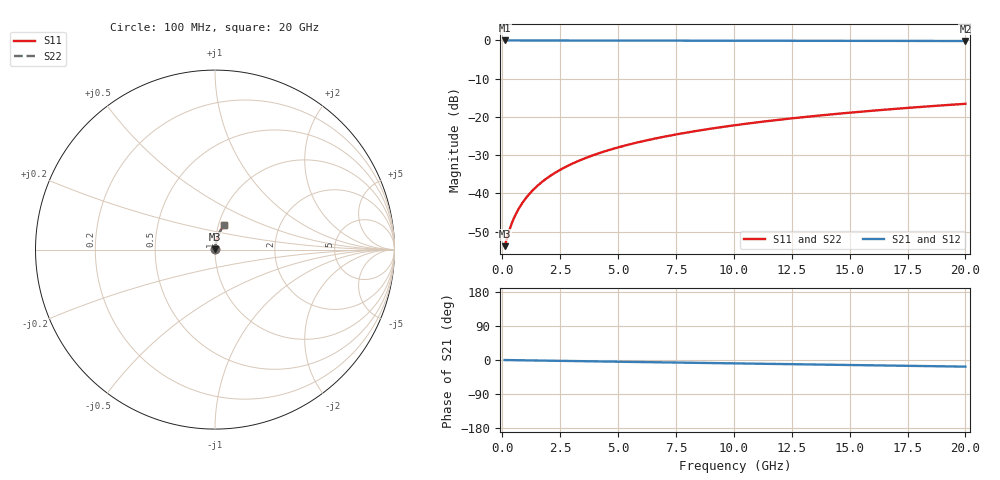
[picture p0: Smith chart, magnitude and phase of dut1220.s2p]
! Touchstone file exported from HFSS 2026.1.0
!  File:  C:/ffzhzh/LocalFiles/Ansys_Project_Files/temp_train_BSMRDL_1220_1783176814_55132.aedt
!  Generated:  10:54:42 PM Jul  4, 2026
!  Design:  BSMRDL
!  Project:  temp_train_BSMRDL_1220_1783176814_55132
! Variables:
!  h_bsmrdl = 3.97um
!  h_ox = 20um
!  h_rdl = 5um
!  h_sub = 80um
!  h_tmrdl = 5um
!  h_tsv = 80um
!  h_via = 3um
!  l_bsmrdl = 259.76um
!  l_sub = 659.76um
!  l_tmrdl = 200um
!  m_sub = 200um
!  pitch = 27.46um
!  r_tsv = 6um
!  s_tmrdl = 10um
!  w_bsmrdl = 13.76um
!  w_sub = 500um
!  w_tmrdl = 12um
!  x_tsv_center1 = 206um
!  x_tsv_center2 = 479.52um
!  x_tsv_center3 = 691.52um
!  x_tsv_center4 = 965.04um
!  x_tsv_center5 = 1177.04um
!  x_tsv_center6 = 1450.56um
# GHz S MA R 50.000000
! Terminal data exported
! Port[1] = BSM_RDL1_1_T1
! Port[2] = BSM_RDL1_1_T2
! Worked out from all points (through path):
!   200 points, 100 MHz to 20 GHz, reference 50 ohm
!   highest |S21| = -0.02 dB at 100 MHz (marker M1); lowest = -0.2 dB at 20 GHz (marker M2)
!   group delay of S21, straight-line fit = 2.43 ps
!   lowest |S11| = -53.8 dB at 100 MHz (marker M3), VSWR 1.00, Z = 50.2 + j0.0905 ohm
!   |S11| at or under -10 dB: start of sweep to end of sweep
!   |S22| runs from -53.8 to -16.6 dB; largest |S21 - S12| = 3.5e-15
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0.1  0.002039 26.3  0.9982 -0.1  0.9982 -0.1  0.002039 26.3
! Gamma 0 0 0 0
! Port Impedance 50 0 50 0
0.3  0.003273 53.1  0.998 -0.3  0.998 -0.3  0.003273 53.1
0.4  0.003991 59.3  0.998 -0.4  0.998 -0.4  0.003991 59.3
0.5  0.004725 63.6  0.9979 -0.5  0.9979 -0.5  0.004725 63.6
0.6  0.005469 66.7  0.9979 -0.6  0.9979 -0.6  0.005469 66.7
0.7  0.006221 69.2  0.9978 -0.6  0.9978 -0.6  0.006221 69.2
0.9  0.007746 72.7  0.9978 -0.8  0.9978 -0.8  0.007746 72.7
1.2  0.01007 75.9  0.9977 -1.1  0.9977 -1.1  0.01007 75.9
1.4  0.01164 77.3  0.9976 -1.3  0.9976 -1.3  0.01164 77.3
1.7  0.014 78.7  0.9975 -1.6  0.9975 -1.6  0.014 78.7
2.2  0.01795 80.0  0.9973 -2.0  0.9973 -2.0  0.01795 80.0
2.8  0.02269 80.8  0.9971 -2.5  0.9971 -2.5  0.02269 80.7
3.5  0.02819 81.0  0.9967 -3.2  0.9967 -3.2  0.02819 81.0
4.2  0.03366 80.9  0.9963 -3.8  0.9963 -3.8  0.03367 80.9
5  0.03986 80.6  0.9958 -4.5  0.9958 -4.5  0.03987 80.6
5.9  0.04677 80.1  0.9952 -5.3  0.9952 -5.3  0.04677 80.1
6.8  0.05361 79.5  0.9945 -6.1  0.9945 -6.1  0.05361 79.5
8.3  0.06486 78.5  0.9933 -7.4  0.9933 -7.4  0.06486 78.5
10.1  0.07815 77.2  0.9917 -9.0  0.9917 -9.0  0.07816 77.2
13.4  0.1021 74.7  0.9886 -11.9  0.9886 -11.9  0.1021 74.7
16.7  0.1254 72.2  0.9852 -14.7  0.9852 -14.7  0.1254 72.1
20  0.1482 69.6  0.9814 -17.5  0.9814 -17.5  0.1482 69.6
